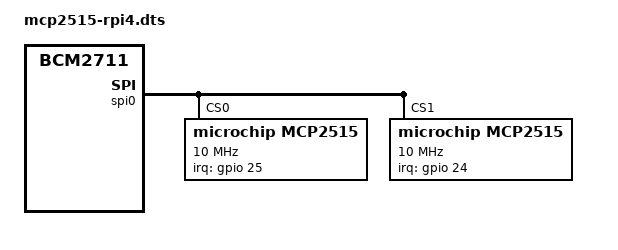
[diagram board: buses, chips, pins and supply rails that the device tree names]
/dts-v1/;
/plugin/;

/ {
    compatible = "brcm,bcm2711";

    fragment@0 {
        target = <&spi0>;
        __overlay__ {
            status = "okay";
            #address-cells = <1>;
            #size-cells = <0>;

            mcp2515@0 {
                compatible = "microchip,mcp2515";
                reg = <0>;
                spi-max-frequency = <10000000>;
                interrupt-parent = <&gpio>;
                interrupts = <25 0x2>;
                oscillator-frequency = <16000000>;
                status = "okay";
            };

            mcp2515@1 {
                compatible = "microchip,mcp2515";
                reg = <1>;
                spi-max-frequency = <10000000>;
                interrupt-parent = <&gpio>;
                interrupts = <24 0x2>;
                oscillator-frequency = <16000000>;
                status = "okay";
            };
        };
    };

    fragment@1 {
        target = <&spidev0>;
        __overlay__ {
            status = "disabled";
        };
    };

    fragment@2 {
        target = <&spidev1>;
        __overlay__ {
            status = "disabled";
        };
    };
};
